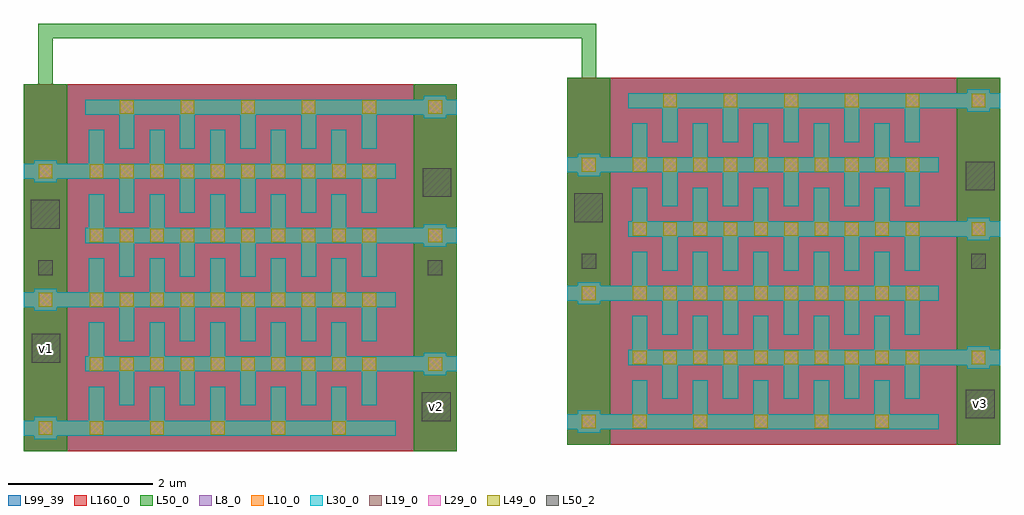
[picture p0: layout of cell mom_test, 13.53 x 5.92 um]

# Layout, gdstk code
import gdstk
lib = gdstk.Library(unit=1e-6, precision=1e-09)
def R(c, l, rs):  # rectangles x0, y0, x1, y1
    for r in rs: c.add(gdstk.rectangle(r[:2], r[2:], *l))
def A(c, l, x, y, w, h, nx, ny, dx, dy):  # array of equal rectangles
    R(c, l, [(x+i*dx, y+j*dy, x+i*dx+w, y+j*dy+h) for i in range(nx) for j in range(ny)])
L8_0 = (8, 0)
L10_0 = (10, 0)
L19_0 = (19, 0)
L29_0 = (29, 0)
L30_0 = (30, 0)
L49_0 = (49, 0)
L50_0 = (50, 0)
L50_2 = (50, 2)
L99_39 = (99, 39)
L160_0 = (160, 0)

cap_cmomi = lib.new_cell('cap_cmomi')
A(cap_cmomi, L8_0, -0.755, -0.155, 0.31, 0.31, 1, 3, 0, 1.78)
A(cap_cmomi, L8_0, -0.9, -0.105, 5.15, 0.21, 1, 3, 0, 1.78)
A(cap_cmomi, L8_0, 0, 0, 0.21, 0.575, 5, 5, 0.84, 0.89)
A(cap_cmomi, L8_0, 0.42, 0.315, 0.21, 0.575, 5, 5, 0.84, 0.89)
A(cap_cmomi, L8_0, 4.645, 0.735, 0.31, 0.31, 1, 3, 0, 1.78)
A(cap_cmomi, L8_0, -0.05, 0.785, 5.15, 0.21, 1, 3, 0, 1.78)
A(cap_cmomi, L10_0, -0.755, -0.155, 0.31, 0.31, 1, 3, 0, 1.78)
A(cap_cmomi, L10_0, -0.9, -0.105, 5.15, 0.21, 1, 3, 0, 1.78)
A(cap_cmomi, L10_0, 0, 0, 0.21, 0.575, 5, 5, 0.84, 0.89)
A(cap_cmomi, L10_0, 0.42, 0.315, 0.21, 0.575, 5, 5, 0.84, 0.89)
A(cap_cmomi, L10_0, 4.645, 0.735, 0.31, 0.31, 1, 3, 0, 1.78)
A(cap_cmomi, L10_0, -0.05, 0.785, 5.15, 0.21, 1, 3, 0, 1.78)
A(cap_cmomi, L19_0, -0.695, -0.095, 0.19, 0.19, 1, 3, 0, 1.78)
A(cap_cmomi, L19_0, 0.01, -0.095, 0.19, 0.19, 5, 1, 0.84, 0)
A(cap_cmomi, L19_0, 0.01, 0.795, 0.19, 0.19, 10, 4, 0.42, 0.89)
A(cap_cmomi, L19_0, 4.705, 0.795, 0.19, 0.19, 1, 3, 0, 1.78)
A(cap_cmomi, L19_0, 0.43, 4.355, 0.19, 0.19, 5, 1, 0.84, 0)
A(cap_cmomi, L29_0, -0.695, -0.095, 0.19, 0.19, 1, 3, 0, 1.78)
A(cap_cmomi, L29_0, 0.01, -0.095, 0.19, 0.19, 5, 1, 0.84, 0)
A(cap_cmomi, L29_0, 0.01, 0.795, 0.19, 0.19, 10, 4, 0.42, 0.89)
A(cap_cmomi, L29_0, 4.705, 0.795, 0.19, 0.19, 1, 3, 0, 1.78)
A(cap_cmomi, L29_0, 0.43, 4.355, 0.19, 0.19, 5, 1, 0.84, 0)
A(cap_cmomi, L30_0, -0.755, -0.155, 0.31, 0.31, 1, 3, 0, 1.78)
A(cap_cmomi, L30_0, -0.9, -0.105, 5.15, 0.21, 1, 3, 0, 1.78)
A(cap_cmomi, L30_0, 0, 0, 0.21, 0.575, 5, 5, 0.84, 0.89)
A(cap_cmomi, L30_0, 0.42, 0.315, 0.21, 0.575, 5, 5, 0.84, 0.89)
A(cap_cmomi, L30_0, 4.645, 0.735, 0.31, 0.31, 1, 3, 0, 1.78)
A(cap_cmomi, L30_0, -0.05, 0.785, 5.15, 0.21, 1, 3, 0, 1.78)
A(cap_cmomi, L49_0, -0.695, -0.095, 0.19, 0.19, 1, 3, 0, 1.78)
A(cap_cmomi, L49_0, 0.01, -0.095, 0.19, 0.19, 5, 1, 0.84, 0)
A(cap_cmomi, L49_0, 0.01, 0.795, 0.19, 0.19, 10, 4, 0.42, 0.89)
A(cap_cmomi, L49_0, 4.705, 0.795, 0.19, 0.19, 1, 3, 0, 1.78)
A(cap_cmomi, L49_0, 0.43, 4.355, 0.19, 0.19, 5, 1, 0.84, 0)
A(cap_cmomi, L50_0, -0.9, -0.105, 5.15, 0.21, 1, 3, 0, 1.78)
A(cap_cmomi, L50_0, 0, 0, 0.21, 0.575, 5, 5, 0.84, 0.89)
A(cap_cmomi, L50_0, 0.42, 0.315, 0.21, 0.575, 5, 5, 0.84, 0.89)
A(cap_cmomi, L50_0, -0.05, 0.785, 5.15, 0.21, 1, 3, 0, 1.78)
R(cap_cmomi, L50_0, [(-0.9,-0.32,-0.3,4.77), (4.5,-0.32,5.1,4.77)])
R(cap_cmomi, L50_2, [(-0.7,2.12,-0.5,2.33), (4.7,2.12,4.9,2.33)])
R(cap_cmomi, L99_39, [(-0.9,-0.32,5.1,4.77)])
R(cap_cmomi, L160_0, [(-0.9,-0.32,5.1,4.77)])
cap_cmomi.add(gdstk.Label('cap_cmomi C=16.298fF', (-0.9,-0.82), layer=63, texttype=0))

cap_cmomi_1 = lib.new_cell('cap_cmomi_1')
R(cap_cmomi_1, L50_0, [(1.48,4.26,1.97,5.1), (6.94,4.64,7.38,5.64)])
R(cap_cmomi_1, L50_2, [(1.53,4.5,1.93,4.9), (6.96,4.94,7.36,5.34)])
cap_cmomi_1.add(gdstk.Reference(cap_cmomi, (2.335,1.735)))
cap_cmomi_1.add(gdstk.Label('v1', (1.73,4.7), layer=50, texttype=25))
cap_cmomi_1.add(gdstk.Label('v2', (7.16,5.14), layer=50, texttype=25))

mom_test = lib.new_cell('mom_test')
R(mom_test, L50_0, [(2.245,2.105,2.845,7.195), (7.645,2.105,8.245,7.195), (9.775,2.195,10.375,7.285), (15.175,2.195,15.775,7.285)])
R(mom_test, L50_2, [(7.76,2.52,8.16,2.92), (15.3,2.56,15.7,2.96), (2.35,3.33,2.75,3.73)])
mom_test.add(gdstk.FlexPath([(2.545,7.195),(2.545,7.93),(10.075,7.93),(10.075,7.285),(10.075,7.285)], 0.2, ends="flush", simple_path=True, layer=50, datatype=0))  # L50_0
mom_test.add(gdstk.Reference(cap_cmomi_1, (0.81,0.69)))
mom_test.add(gdstk.Reference(cap_cmomi_1, (8.34,0.78)))
mom_test.add(gdstk.Label('v1', (2.55,3.53), layer=50, texttype=25))
mom_test.add(gdstk.Label('v2', (7.96,2.72), layer=50, texttype=25))
mom_test.add(gdstk.Label('v3', (15.5,2.76), layer=50, texttype=25))

lib.write_gds('mom_test.gds')
